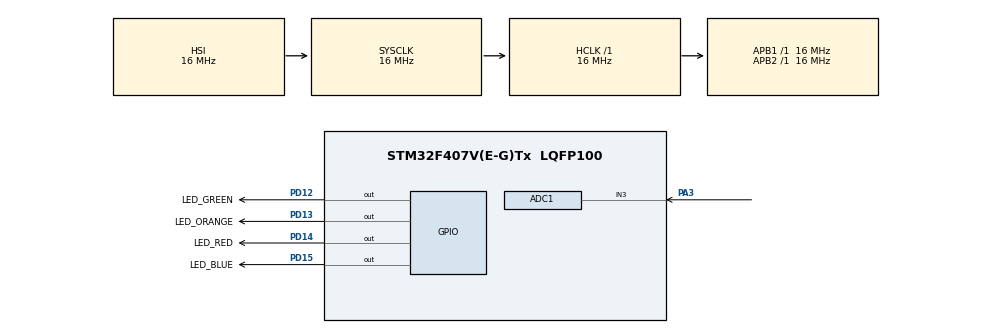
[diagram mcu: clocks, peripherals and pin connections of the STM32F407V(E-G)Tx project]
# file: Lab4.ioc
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ADC1.Channel-0\#ChannelRegularConversion=ADC_CHANNEL_3
ADC1.NbrOfConversionFlag=1
ADC1.Rank-0\#ChannelRegularConversion=1
ADC1.SamplingTime-0\#ChannelRegularConversion=ADC_SAMPLETIME_480CYCLES
ADC1.master=1
Mcu.Family=STM32F4
Mcu.Name=STM32F407V(E-G)Tx
Mcu.Package=LQFP100
NVIC.ADC_IRQn=true\:0\:0\:false\:false\:true\:true\:true\:true
NVIC.PriorityGroup=NVIC_PRIORITYGROUP_4
PA3.Signal=ADCx_IN3
PD12.GPIO_Label=LED_GREEN
PD12.Signal=GPIO_Output
PD13.GPIO_Label=LED_ORANGE
PD13.Signal=GPIO_Output
PD14.GPIO_Label=LED_RED
PD14.Signal=GPIO_Output
PD15.GPIO_Label=LED_BLUE
PD15.Signal=GPIO_Output
ProjectManager.HeapSize=0x200
ProjectManager.StackSize=0x400
ProjectManager.TargetToolchain=STM32CubeIDE
RCC.AHBFreq_Value=16000000
RCC.APB1Freq_Value=16000000
RCC.APB2Freq_Value=16000000
RCC.CortexFreq_Value=16000000
RCC.HSE_VALUE=25000000
RCC.HSI_VALUE=16000000
RCC.LSE_VALUE=32768
RCC.SYSCLKFreq_VALUE=16000000
RCC.VCOOutputFreq_Value=192000000
SH.ADCx_IN3.0=ADC1_IN3,IN3
board=custom

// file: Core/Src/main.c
/* USER CODE BEGIN Header */
/**
  ******************************************************************************
  * @file           : main.c
  * @brief          : Main program body
  ******************************************************************************
  * @attention
  *
  * Copyright (c) 2023 STMicroelectronics.
  * All rights reserved.
  *
  * This software is licensed under terms that can be found in the LICENSE file
  * in the root directory of this software component.
  * If no LICENSE file comes with this software, it is provided AS-IS.
  *
  ******************************************************************************
  */
/* USER CODE END Header */
#include "main.h"

/* USER CODE BEGIN PD */

#define MAX_adcValue 4096

/* USER CODE END PD */

ADC_HandleTypeDef hadc1;

void SystemClock_Config(void);
static void MX_GPIO_Init(void);
static void MX_ADC1_Init(void);
/* USER CODE BEGIN PFP */

void HAL_ADC_ConvCpltCallback(ADC_HandleTypeDef* hadc)
{
  uint32_t adcValue;

  if(hadc->Instance == ADC1)
  {
        adcValue = HAL_ADC_GetValue(&hadc1);

        // (0-20%) All LEDs OFF
        if (adcValue >= 0 && adcValue < MAX_adcValue / 5)
        {
            HAL_GPIO_WritePin(GPIOD, GPIO_PIN_12, GPIO_PIN_RESET); //GREEN OFF
            HAL_GPIO_WritePin(GPIOD, GPIO_PIN_13, GPIO_PIN_RESET); //ORANGE OFF
            HAL_GPIO_WritePin(GPIOD, GPIO_PIN_14, GPIO_PIN_RESET); //RED OFF
            HAL_GPIO_WritePin(GPIOD, GPIO_PIN_15, GPIO_PIN_RESET); //BLUE OFF
        }
        // (20..40%) GREEN ON, others OFF
        else if (adcValue >= MAX_adcValue / 5 && adcValue < 2 * MAX_adcValue / 5)
        {
            HAL_GPIO_WritePin(GPIOD, GPIO_PIN_12, GPIO_PIN_SET); //GREEN ON
            HAL_GPIO_WritePin(GPIOD, GPIO_PIN_13, GPIO_PIN_RESET); //ORANGE OFF
            HAL_GPIO_WritePin(GPIOD, GPIO_PIN_14, GPIO_PIN_RESET); //RED OFF
            HAL_GPIO_WritePin(GPIOD, GPIO_PIN_15, GPIO_PIN_RESET); //BLUE OFF
        }
        // (40-60%) GREEN and ORANGE ON, others OFF
        else if (adcValue >= 2 * MAX_adcValue / 5 && adcValue < 3 * MAX_adcValue / 5)
        {
            HAL_GPIO_WritePin(GPIOD, GPIO_PIN_12, GPIO_PIN_SET); //GREEN ON
            HAL_GPIO_WritePin(GPIOD, GPIO_PIN_13, GPIO_PIN_SET); //ORANGE ON
            HAL_GPIO_WritePin(GPIOD, GPIO_PIN_14, GPIO_PIN_RESET); //RED OFF
            HAL_GPIO_WritePin(GPIOD, GPIO_PIN_15, GPIO_PIN_RESET); //BLUE OFF
        }
        // (60-80%) GREEN, ORANGE, and RED ON, BLUE OFF
        else if (adcValue >= 3 * MAX_adcValue / 5 && adcValue < 4 * MAX_adcValue / 5)
        {
            HAL_GPIO_WritePin(GPIOD, GPIO_PIN_12, GPIO_PIN_SET); //GREEN ON
            HAL_GPIO_WritePin(GPIOD, GPIO_PIN_13, GPIO_PIN_SET); //ORANGE ON
            HAL_GPIO_WritePin(GPIOD, GPIO_PIN_14, GPIO_PIN_SET); //RED ON
            HAL_GPIO_WritePin(GPIOD, GPIO_PIN_15, GPIO_PIN_RESET); //BLUE OFF
        }
        // (80-100%) GREEN, ORANGE, and BLUE ON, RED OFF
        else
        {
            HAL_GPIO_WritePin(GPIOD, GPIO_PIN_12, GPIO_PIN_SET); //GREEN ON
            HAL_GPIO_WritePin(GPIOD, GPIO_PIN_13, GPIO_PIN_SET); //ORANGE ON
            HAL_GPIO_WritePin(GPIOD, GPIO_PIN_14, GPIO_PIN_RESET); //RED OFF
            HAL_GPIO_WritePin(GPIOD, GPIO_PIN_15, GPIO_PIN_SET); //BLUE ON
        }

        HAL_ADC_Start_IT(&hadc1);
  }
}

/* USER CODE END PFP */

int main(void)
{

  /* MCU Configuration--------------------------------------------------------*/

  /* Reset of all peripherals, Initializes the Flash interface and the Systick. */
  HAL_Init();

  /* Configure the system clock */
  SystemClock_Config();

  /* Initialize all configured peripherals */
  MX_GPIO_Init();
  MX_ADC1_Init();
  /* USER CODE BEGIN 2 */

  HAL_ADC_Start_IT(&hadc1);

  /* USER CODE END 2 */

  /* Infinite loop */
  while (1)
  {

  }
}

void SystemClock_Config(void)
{
  RCC_OscInitTypeDef RCC_OscInitStruct = {0};
  RCC_ClkInitTypeDef RCC_ClkInitStruct = {0};

  /** Configure the main internal regulator output voltage
  */
  __HAL_RCC_PWR_CLK_ENABLE();
  __HAL_PWR_VOLTAGESCALING_CONFIG(PWR_REGULATOR_VOLTAGE_SCALE1);

  /** Initializes the RCC Oscillators according to the specified parameters
  * in the RCC_OscInitTypeDef structure.
  */
  RCC_OscInitStruct.OscillatorType = RCC_OSCILLATORTYPE_HSI;
  RCC_OscInitStruct.HSIState = RCC_HSI_ON;
  RCC_OscInitStruct.HSICalibrationValue = RCC_HSICALIBRATION_DEFAULT;
  RCC_OscInitStruct.PLL.PLLState = RCC_PLL_NONE;
  if (HAL_RCC_OscConfig(&RCC_OscInitStruct) != HAL_OK)
  {
    Error_Handler();
  }

  /** Initializes the CPU, AHB and APB buses clocks
  */
  RCC_ClkInitStruct.ClockType = RCC_CLOCKTYPE_HCLK|RCC_CLOCKTYPE_SYSCLK
                              |RCC_CLOCKTYPE_PCLK1|RCC_CLOCKTYPE_PCLK2;
  RCC_ClkInitStruct.SYSCLKSource = RCC_SYSCLKSOURCE_HSI;
  RCC_ClkInitStruct.AHBCLKDivider = RCC_SYSCLK_DIV1;
  RCC_ClkInitStruct.APB1CLKDivider = RCC_HCLK_DIV1;
  RCC_ClkInitStruct.APB2CLKDivider = RCC_HCLK_DIV1;

  if (HAL_RCC_ClockConfig(&RCC_ClkInitStruct, FLASH_LATENCY_0) != HAL_OK)
  {
    Error_Handler();
  }
}

static void MX_ADC1_Init(void)
{

  ADC_ChannelConfTypeDef sConfig = {0};

  /** Configure the global features of the ADC (Clock, Resolution, Data Alignment and number of conversion)
  */
  hadc1.Instance = ADC1;
  hadc1.Init.ClockPrescaler = ADC_CLOCK_SYNC_PCLK_DIV2;
  hadc1.Init.Resolution = ADC_RESOLUTION_12B;
  hadc1.Init.ScanConvMode = DISABLE;
  hadc1.Init.ContinuousConvMode = DISABLE;
  hadc1.Init.DiscontinuousConvMode = DISABLE;
  hadc1.Init.ExternalTrigConvEdge = ADC_EXTERNALTRIGCONVEDGE_NONE;
  hadc1.Init.ExternalTrigConv = ADC_SOFTWARE_START;
  hadc1.Init.DataAlign = ADC_DATAALIGN_RIGHT;
  hadc1.Init.NbrOfConversion = 1;
  hadc1.Init.DMAContinuousRequests = DISABLE;
  hadc1.Init.EOCSelection = ADC_EOC_SINGLE_CONV;
  if (HAL_ADC_Init(&hadc1) != HAL_OK)
  {
    Error_Handler();
  }

  /** Configure for the selected ADC regular channel its corresponding rank in the sequencer and its sample time.
  */
  sConfig.Channel = ADC_CHANNEL_3;
  sConfig.Rank = 1;
  sConfig.SamplingTime = ADC_SAMPLETIME_480CYCLES;
  if (HAL_ADC_ConfigChannel(&hadc1, &sConfig) != HAL_OK)
  {
    Error_Handler();
  }

}

static void MX_GPIO_Init(void)
{
  GPIO_InitTypeDef GPIO_InitStruct = {0};

  /* GPIO Ports Clock Enable */
  __HAL_RCC_GPIOA_CLK_ENABLE();
  __HAL_RCC_GPIOD_CLK_ENABLE();

  /*Configure GPIO pin Output Level */
  HAL_GPIO_WritePin(GPIOD, LED_GREEN_Pin|LED_ORANGE_Pin|LED_RED_Pin|LED_BLUE_Pin, GPIO_PIN_RESET);

  /*Configure GPIO pins : LED_GREEN_Pin LED_ORANGE_Pin LED_RED_Pin LED_BLUE_Pin */
  GPIO_InitStruct.Pin = LED_GREEN_Pin|LED_ORANGE_Pin|LED_RED_Pin|LED_BLUE_Pin;
  GPIO_InitStruct.Mode = GPIO_MODE_OUTPUT_PP;
  GPIO_InitStruct.Pull = GPIO_NOPULL;
  GPIO_InitStruct.Speed = GPIO_SPEED_FREQ_LOW;
  HAL_GPIO_Init(GPIOD, &GPIO_InitStruct);

}

void Error_Handler(void)
{
  __disable_irq();
  while (1)
  {
  }
}
